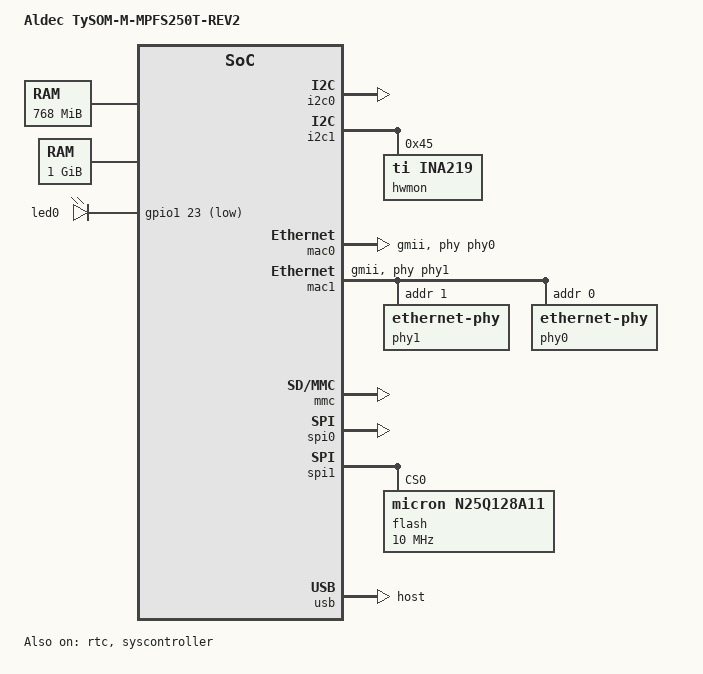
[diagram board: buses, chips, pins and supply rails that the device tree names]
// SPDX-License-Identifier: GPL-2.0
/*
 * Original all-in-one devicetree:
 * Copyright (C) 2020-2022 - Aldec
 * Rewritten to use includes:
 * Copyright (C) 2022 - Conor Dooley <conor.dooley@microchip.com>
 */

/dts-v1/;

#include "mpfs.dtsi"
#include "mpfs-tysom-m-fabric.dtsi"

/ {
	model = "Aldec TySOM-M-MPFS250T-REV2";
	compatible = "aldec,tysom-m-mpfs250t-rev2", "microchip,mpfs";

	aliases {
		ethernet0 = &mac0;
		ethernet1 = &mac1;
		serial0 = &mmuart0;
		serial1 = &mmuart1;
		serial2 = &mmuart2;
		serial3 = &mmuart3;
		serial4 = &mmuart4;
		gpio0 = &gpio0;
		gpio1 = &gpio2;
	};

	chosen {
		stdout-path = "serial1:115200n8";
	};

	ddrc_cache_lo: memory@80000000 {
		device_type = "memory";
		reg = <0x0 0x80000000 0x0 0x30000000>;
		status = "okay";
	};

	ddrc_cache_hi: memory@1000000000 {
		device_type = "memory";
		reg = <0x10 0x00000000 0x0 0x40000000>;
		status = "okay";
	};

	leds {
		compatible = "gpio-leds";
		status = "okay";

		led0 {
			gpios = <&gpio1 23 1>;
			default-state = "on";
			linux,default-trigger = "heartbeat";
		};
	};
};

&i2c0 {
	status = "okay";
};

&i2c1 {
	status = "okay";
	hwmon: hwmon@45 {
		status = "okay";
		compatible = "ti,ina219";
		reg = <0x45>;
		shunt-resistor = <2000>;
	};
};

&irqmux {
	interrupt-map = <0 &plic 13>, <1 &plic 14>, <2 &plic 15>,
			<3 &plic 16>, <4 &plic 17>, <5 &plic 18>,
			<6 &plic 19>, <7 &plic 20>, <8 &plic 21>,
			<9 &plic 22>, <10 &plic 23>, <11 &plic 24>,
			<12 &plic 25>, <13 &plic 26>,

			<32 &plic 27>, <33 &plic 28>, <34 &plic 29>,
			<35 &plic 30>, <36 &plic 31>, <37 &plic 32>,
			<38 &plic 33>, <39 &plic 34>, <40 &plic 35>,
			<41 &plic 36>, <42 &plic 37>, <43 &plic 38>,
			<44 &plic 39>, <45 &plic 40>, <46 &plic 41>,
			<47 &plic 42>, <48 &plic 43>, <49 &plic 44>,
			<50 &plic 45>, <51 &plic 46>, <52 &plic 47>,
			<53 &plic 48>, <54 &plic 49>, <55 &plic 50>,

			<64 &plic 53>, <65 &plic 53>, <66 &plic 53>,
			<67 &plic 53>, <68 &plic 53>, <69 &plic 53>,
			<70 &plic 53>, <71 &plic 53>, <72 &plic 53>,
			<73 &plic 53>, <74 &plic 53>, <75 &plic 53>,
			<76 &plic 53>, <77 &plic 53>, <78 &plic 53>,
			<79 &plic 53>, <80 &plic 53>, <81 &plic 53>,
			<82 &plic 53>, <83 &plic 53>, <84 &plic 53>,
			<85 &plic 53>, <86 &plic 53>, <87 &plic 53>,
			<88 &plic 53>, <89 &plic 53>, <90 &plic 53>,
			<91 &plic 53>, <92 &plic 53>, <93 &plic 53>,
			<94 &plic 53>, <95 &plic 53>;
};

&gpio1 {
	status = "okay";
};

&mac0 {
	status = "okay";
	phy-mode = "gmii";
	phy-handle = <&phy0>;

};

&mac1 {
	status = "okay";
	phy-mode = "gmii";
	phy-handle = <&phy1>;
	phy1: ethernet-phy@1 {
		reg = <1>;
	};
	phy0: ethernet-phy@0 {
		reg = <0>;
	};
};

&mbox {
	status = "okay";
};

&mmc {
	max-frequency = <200000000>;
	cap-mmc-highspeed;
	cap-sd-highspeed;
	no-1-8-v;
	disable-wp;
	status = "okay";
};

&mmuart1 {
	status = "okay";
};

&mmuart2 {
	status = "okay";
};

&mmuart3 {
	status = "okay";
};

&mmuart4 {
	status = "okay";
};

&refclk {
	clock-frequency = <125000000>;
};

&rtc {
	status = "okay";
};

&spi0 {
	status = "okay";
};

&spi1 {
	status = "okay";
	flash@0 {
		compatible = "micron,n25q128a11", "jedec,spi-nor";
		reg = <0x0>;
		spi-max-frequency = <10000000>;
	};
};

&syscontroller {
	status = "okay";
};

&usb {
	status = "okay";
	dr_mode = "host";
};
